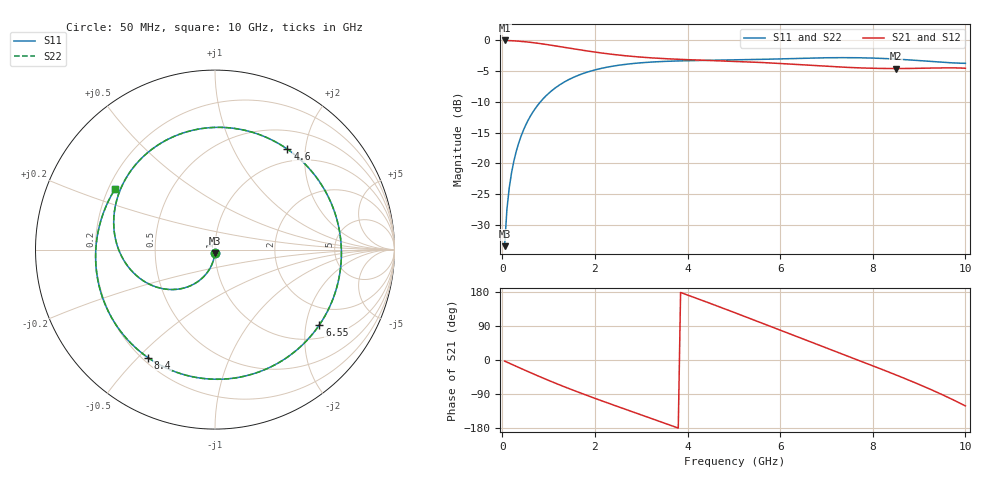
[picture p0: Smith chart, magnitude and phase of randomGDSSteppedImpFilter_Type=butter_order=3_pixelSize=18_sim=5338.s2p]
! freq	dB(S11)	phase(S11)	dB(S12)	phase(S12)
!  dB(S21)	phase(S21)	dB(S22)	phase(S22)
!S-par simulation data
#  GHz  S  DB  R 50
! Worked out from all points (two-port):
!   200 points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, 50 MHz to 10 GHz, reference 50 ohm
!   highest |S21| = 0.00 dB at 50 MHz (marker M1); lowest = -4.6 dB at 8.5 GHz (marker M2)
!   |S21| within 3 dB of the highest: start of sweep to 3.608 GHz
!   lowest |S11| = -33.5 dB at 50 MHz (marker M3), VSWR 1.04, Z = 49.8 - j2.11 ohm
!   |S11| at or under -10 dB: start of sweep to 823.5 MHz
!   |S22| runs from -33.5 to -2.8 dB; largest |S21 - S12| = 0
!   S11 on the Smith chart (normalised r, x): 50 MHz: 1.00, -0.04; 4.6 GHz: 0.78, +1.67; 6.55 GHz: 1.38, -2.39; 8.4 GHz: 0.22, -0.54; 10 GHz: 0.23, +0.27
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0.05  -33.49 -92.9  -0.00 -2.8  -0.00 -2.8  -33.49 -92.9
0.1  -27.49 -95.8  -0.02 -5.6  -0.02 -5.6  -27.49 -95.8
0.2  -21.53 -101.6  -0.05 -11.2  -0.05 -11.2  -21.53 -101.6
0.35  -16.80 -110.0  -0.12 -19.4  -0.12 -19.4  -16.80 -110.0
0.5  -13.87 -118.2  -0.22 -27.6  -0.22 -27.6  -13.87 -118.2
1.1  -7.98 -149.5  -0.83 -58.9  -0.83 -58.9  -7.98 -149.5
1.75  -5.37 179.5  -1.62 -89.9  -1.62 -89.9  -5.37 179.5
2.5  -4.05 146.2  -2.37 -123.2  -2.37 -123.2  -4.05 146.2
3.4  -3.45 107.3  -2.92 -162.1  -2.92 -162.1  -3.45 107.3
4  -3.30 81.1  -3.13 171.5  -3.13 171.5  -3.30 81.1
4.6  -3.23 54.2  -3.29 144.4  -3.29 144.4  -3.23 54.2
5.05  -3.17 33.6  -3.41 123.5  -3.41 123.5  -3.17 33.6
5.8  -3.04 -1.1  -3.67 88.2  -3.67 88.2  -3.04 -1.1
6.55  -2.89 -35.9  -4.01 52.8  -4.01 52.8  -2.89 -35.9
6.7  -2.86 -42.8  -4.08 45.7  -4.08 45.7  -2.86 -42.8
7.55  -2.81 -81.9  -4.42 5.9  -4.42 5.9  -2.81 -81.9
8.35  -2.98 -119.4  -4.57 -32.1  -4.57 -32.1  -2.98 -119.4
8.4  -3.00 -121.8  -4.57 -34.5  -4.57 -34.5  -3.00 -121.8
8.5  -3.04 -126.7  -4.58 -39.4  -4.58 -39.4  -3.04 -126.7
9.3  -3.45 -168.3  -4.49 -80.4  -4.49 -80.4  -3.45 -168.3
9.65  -3.62 171.1  -4.46 -100.0  -4.46 -100.0  -3.62 171.2
10  -3.73 148.7  -4.53 -121.1  -4.53 -121.1  -3.73 148.7
